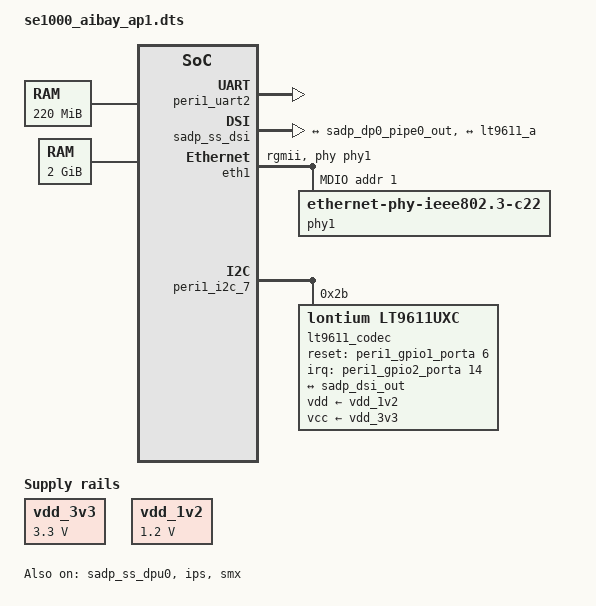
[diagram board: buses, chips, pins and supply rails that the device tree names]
/dts-v1/;
#include "dt-bindings/clock/se1000-clock.h"
#include "se1000_clock.dtsi"
#include <dt-bindings/thermal/thermal.h>
#include <dt-bindings/interrupt-controller/irq.h>
#include <dt-bindings/interrupt-controller/arm-gic.h>
#include <dt-bindings/rpmsg/siengine-rpmsg-id.h>
#include <dt-bindings/power/se1000-reset.h>
#include <dt-bindings/interrupt-controller/se1000-mailbox-irq-id.h>
#include <dt-bindings/gpio/gpio.h>
#include "se1000_pinmux.dtsi"
#include "se1000_uart.dtsi"
#include "se1000_sadp_sdpic.dtsi"
#include "se1000_arm_pmu.dtsi"
#include "se1000_reserved_mem.dtsi"
#include "se1000_mailbox.dtsi"
#include "se1000_gdc.dtsi"
#include "se1000_dma.dtsi"
#include "se1000_i2c.dtsi"
#include "se1000_eth.dtsi"
#include "se1000_sensor.dtsi"
#include "se1000_csi_dphy.dtsi"
#include "se1000_csi.dtsi"
#include "se1000_cisp_cp.dtsi"
#include "se1000_thermal.dtsi"
#include "se1000_npu1.dtsi"
#include "se1000_regulator.dtsi"
#include "se1000_gpu1.dtsi"
#include "se1000_sfc.dtsi"
#include "se1000_pwm.dtsi"
#include "se1000_vpu.dtsi"

/ {
	interrupt-parent = <&gic600>;
	#size-cells = <0x2>;
	#address-cells = <0x2>;
	compatible = "linux,se1000";

	psci {
		method = "smc";
		compatible = "arm,psci-0.2", "arm,psci";
	};

	memory@90200000 {
		reg = <0x0 0x90200000 0x0 0x0DC00000>;
		device_type = "memory";
	};

	/*add high 2G*/
	memory@C40000000 {
		reg = <0xC 0x40000000 0x0 0x80000000>;
		device_type = "memory";
	};

	reserved-memory {
		#address-cells = <2>;
		#size-cells = <2>;
		ranges;

		linux,cma {
			compatible = "shared-dma-pool";
			reusable;
			/* 256M CMA fix at high address */
			reg = <0xC 0xb0000000 0x0 0x10000000>;
			linux,cma-default;
		};

		ram_rootfs_blk_reserved: ram_rootfs_blk_reserved {
			no-map;
			reg = <0xC 0x40000000 0x0 0x1000000>;
		};
	};

	gic600: intc@52000000 {
		interrupts = <0x1 0x9 0x4>;
		reg = <0x0 0x52000000 0x0 0x10000 0x0 0x52060000 0x0 0x200000>;
		#redistributor-regions = <0x1>;
		compatible = "arm,gic-v3";
		ranges;
		#size-cells = <0x2>;
		#address-cells = <0x2>;
		interrupt-controller;
		#interrupt-cells = <0x3>;
	};

		si_ram_blk: si_ram_blk {
			compatible = "siengine,si_ram_blk";

			ramblk0: ramblk_rootfs {
				memory-region = <&ram_rootfs_blk_reserved>;
			};
		};

	cpus {
		#size-cells = <0x0>;
		#address-cells = <0x1>;

		cpu0: cpu@0 {
			reg = <0x000>;
			enable-method = "psci";
			compatible = "arm,cortex-a55";
			device_type = "cpu";
			capacity-dmips-mhz = <408>;
			operating-points-v2 = <&cpu0_opp_table>;
			#cooling-cells = <2>;
			dynamic-power-coefficient = <154>;
			cpu-idle-states = <&CORE_DOWN>;
			clocks = <&crg_clk STEP_AP1_CLK_CORE0>;
			clock-names = "cpu";

		};

		cpu1: cpu@1 {
			reg = <0x100>;
			enable-method = "psci";
			compatible = "arm,cortex-a55";
			device_type = "cpu";
			capacity-dmips-mhz = <408>;
			operating-points-v2 = <&cpu1_opp_table>;
			#cooling-cells = <2>;
			dynamic-power-coefficient = <154>;
			cpu-idle-states = <&CORE_DOWN>;
			clocks = <&crg_clk STEP_AP1_CLK_CORE1>;
			clock-names = "cpu";

		};

		idle-states {
			entry-method = "psci";
			CORE_DOWN: core-down {
				compatible = "arm,idle-state";
				local-timer-stop;
				arm,psci-suspend-param = <0x10002>;
				entry-latency-us = <700>;
				exit-latency-us = <1000>;
				min-residency-us = <2000>;
			};
		};
	};

	cpu0_opp_table: opp_table0 {
		compatible = "operating-points-v2";
		opp-shared;

		opp-1500000000 {
			opp-hz = /bits/ 64 <1500000000>;
			opp-microvolt = <783000>;
			clock-latency-ns = <40000>;
		};
#if 1
		opp-1312500000 {
			opp-hz = /bits/ 64 <1312500000>;
			opp-microvolt = <783000>;
			clock-latency-ns = <40000>;
		};

		opp-1125000000 {
			opp-hz = /bits/ 64 <1125000000>;
			opp-microvolt = <783000>;
			clock-latency-ns = <40000>;
		};

		opp-937500000 {
			opp-hz = /bits/ 64 <937500000>;
			opp-microvolt = <783000>;
			clock-latency-ns = <40000>;
		};
#endif
		opp-750000000 {
			opp-hz = /bits/ 64 <750000000>;
			opp-microvolt = <783000>;
			clock-latency-ns = <40000>;
		};
	};

	cpu1_opp_table: opp_table1 {
		compatible = "operating-points-v2";
		opp-shared;

		opp-1500000000 {
			opp-hz = /bits/ 64 <1500000000>;
			opp-microvolt = <783000>;
			clock-latency-ns = <40000>;
		};
#if 1
		opp-1312500000 {
			opp-hz = /bits/ 64 <1312500000>;
			opp-microvolt = <783000>;
			clock-latency-ns = <40000>;
		};

		opp-1125000000 {
			opp-hz = /bits/ 64 <1125000000>;
			opp-microvolt = <783000>;
			clock-latency-ns = <40000>;
		};

		opp-937500000 {
			opp-hz = /bits/ 64 <937500000>;
			opp-microvolt = <783000>;
			clock-latency-ns = <40000>;
		};
#endif
		opp-750000000 {
			opp-hz = /bits/ 64 <750000000>;
			opp-microvolt = <783000>;
			clock-latency-ns = <40000>;
		};

	};

	timer {
		interrupts = <0x1 0xd 0x4 0x1 0xe 0x4 0x1 0xb 0x4 0x1 0xa 0x4>;
//		always-on;
		compatible = "arm,armv8-timer", "arm,armv7-timer";
	};

	timer2: timer@0xE9460000 {
		compatible = "snps,dw-apb-timer";
		reg = <0x0 0xE9460000 0x0 0x1000>;
		interrupts = <GIC_SPI 44 IRQ_TYPE_LEVEL_HIGH>;
		clocks = <&peri1_ref_clk>;
		clock-names = "timer";
		idx = <1>;
	};

	hsm_shmem: hsm_shmem {
		compatible = "siengine,hsm_shmem";
		memory-region = <&hsm_cp_shmem_reserved>;

		status = "okay";
	};

	vdd_3v3: regulator-vdd-3v3 {
		compatible = "regulator-fixed";
		status = "okay";
		regulator-name = "mpq4371gve-vdd3v3";
		regulator-min-microvolt = <3300000>;
		regulator-max-microvolt = <3300000>;
		regulator-always-on;
		regulator-boot-on;
	};

	vdd_1v2: regulator-vdd-1v2 {
		compatible = "regulator-fixed";
		status = "okay";
		regulator-name = "sct2130qfta-vdd1v2";
		regulator-min-microvolt = <1200000>;
		regulator-max-microvolt = <1200000>;
		regulator-always-on;
		regulator-boot-on;
	};

	chosen {
		stdout-path = "/uart@e94b0000";
		bootargs = "console=ttyS4,115200n8 earlycon=ns16550a,mmio32,0xe94b0000 clk_ignore_unused loglevel=4 crashkernel=96M root=/dev/ramblk_rootfs rootwait r irqchip.gicv3_pseudo_nmi=1 watchdog_thresh=10";
	};
};

&apbclk {
	/delete-property/ clock-frequency;
	clock-frequency = <100000000>;
};

&arm_pmu {
	interrupt-affinity = <&cpu0>, <&cpu1>;
};

&peri1_uart2 {
	status = "okay";
	baud = <115200>;
};

&sadp_ss_dsi {
	status = "okay";
	lane_mbps = <900>;

	ports {
		#address-cells = <1>;
		#size-cells = <0>;
		port@0 {
			reg = <0>;
			sadp_dsi_in: endpoint {
				remote-endpoint = <&sadp_dp0_pipe0_out>;
			};
		};
		port@1 {
			reg = <1>;
			sadp_dsi_out: endpoint {
				remote-endpoint = <&lt9611_a>;
			};
		};
	};
};

&sadp_ss_dpu0 {
	status = "okay";
};

&sadp_pxlclk0{
	clock-frequency = <300000000>;
};

&eth1 {
	status = "okay";
	phy-handle = <&phy1>;
	phy-mode = "rgmii";

	mdio {
		#address-cells = <0x1>;
		#size-cells = <0x0>;

		phy1: phy@1 {
			compatible = "ethernet-phy-ieee802.3-c22";
			device_type = "ethernet-phy";
			reg = <1>; //hard-coded address to 001
		};
	};
};

&ips {
	use_vf = <2>;
	shmem_region = <&crypto_engine_vf2>;
	ddt_mode = <0>;
	status = "okay";
};

&smx {
	use_vf = <2>;
	shmem_region = <&crypto_engine_vf2>;
	ddt_mode = <0>;
	interrupts = <GIC_SPI 9 IRQ_TYPE_LEVEL_HIGH>;
	status = "okay";
};

&saf_pwm {
	status = "disable";
};


&grp_map {
	/* exp0 */
	hdmi_bridge_grp: hdmi_bridge-grp-map {
		mux {
			function = "hdmi_bridge_ctrl";
			groups = "peri1_gpio1-6", "peri1_gpio2-14";
		};

		conf {
			groups = "peri1_gpio1-6";
			output-enable;
			bias-pull-down;
		};

		conf-rx {
			groups = "peri1_gpio2-14";
			input-enable;
			bias-disable;
		};
	};
};

&peri1_i2c_7 {
	status = "okay";

	lt9611_codec: hdmi-bridge@2b {
		compatible = "lontium,lt9611uxc";
		reg = <0x2b>;
		#sound-dai-cells = <1>;

		interrupts-extended = <&peri1_gpio2_porta 14 IRQ_TYPE_LEVEL_LOW>;
		reset-gpios = <&peri1_gpio1_porta 6 GPIO_ACTIVE_HIGH>;

		vdd-supply = <&vdd_1v2>;
		vcc-supply = <&vdd_3v3>;

		pinctrl-names = "default";
		pinctrl-0 = <&hdmi_bridge_grp>;

		dsi-lanes = <4>;
		panel-width-mm = <68>;
		panel-height-mm = <121>;

		display-timings {
			native-mode = <&timing0>;
			timing0: timing0 {
				clock-frequency = <150000000>;
				hactive = <1920>;
				vactive = <1080>;
				hback-porch = <88>;
				hfront-porch = <170>;
				vback-porch = <36>;
				vfront-porch = <4>;
				hsync-len = <44>;
				vsync-len = <5>;
				vsync-active = <0>;
				hsync-active = <0>;
				de-active = <0>;
			};
		};

		ports {
			#address-cells = <1>;
			#size-cells = <0>;

			port@0 {
				reg = <0>;

				lt9611_a: endpoint {
					remote-endpoint = <&sadp_dsi_out>;
				};
			};
		};
	};
};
